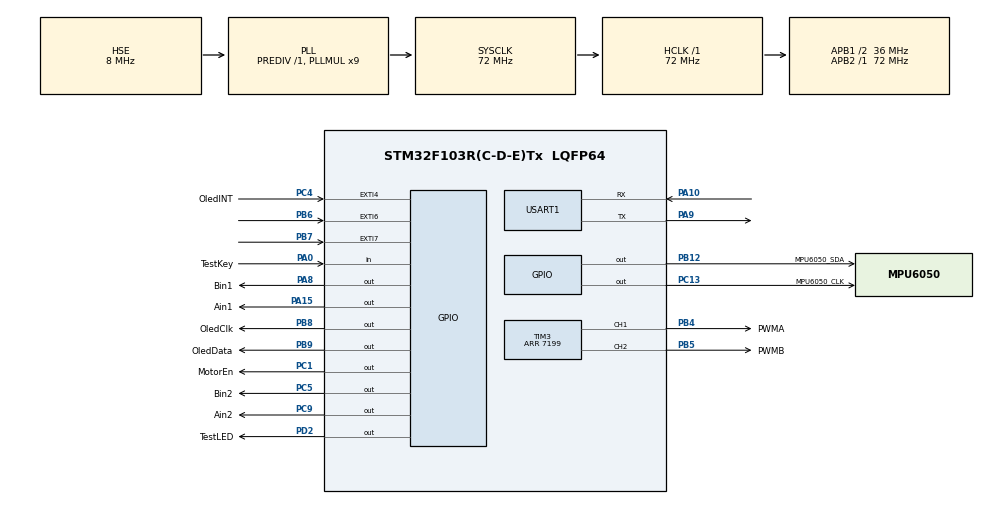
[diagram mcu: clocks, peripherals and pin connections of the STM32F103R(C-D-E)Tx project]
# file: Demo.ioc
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Mcu.Family=STM32F1
Mcu.Name=STM32F103R(C-D-E)Tx
Mcu.Package=LQFP64
NVIC.EXTI4_IRQn=true\:0\:0\:false\:false\:true\:true\:true\:true
NVIC.EXTI9_5_IRQn=true\:0\:0\:false\:false\:true\:true\:true\:true
NVIC.PriorityGroup=NVIC_PRIORITYGROUP_4
NVIC.TIM7_IRQn=true\:0\:0\:false\:false\:true\:true\:true\:true
NVIC.USART1_IRQn=true\:0\:0\:false\:false\:true\:true\:true\:true
PA0-WKUP.GPIO_Label=TestKey
PA0-WKUP.Signal=GPIO_Input
PA10.Mode=Asynchronous
PA10.Signal=USART1_RX
PA13.Mode=Serial_Wire
PA13.Signal=SYS_JTMS-SWDIO
PA14.Mode=Serial_Wire
PA14.Signal=SYS_JTCK-SWCLK
PA15.GPIO_Label=Ain1
PA15.Signal=GPIO_Output
PA8.GPIO_Label=Bin1
PA8.Signal=GPIO_Output
PA9.Mode=Asynchronous
PA9.Signal=USART1_TX
PB12.GPIO_Label=MPU6050_SDA
PB12.Signal=GPIO_Output
PB4.GPIO_Label=PWMA
PB4.Signal=S_TIM3_CH1
PB5.GPIO_Label=PWMB
PB5.Signal=S_TIM3_CH2
PB6.Signal=GPXTI6
PB7.Signal=GPXTI7
PB8.GPIO_Label=OledClk
PB8.Signal=GPIO_Output
PB9.GPIO_Label=OledData
PB9.Signal=GPIO_Output
PC1.GPIO_Label=MotorEn
PC1.Signal=GPIO_Output
PC13-TAMPER-RTC.GPIO_Label=MPU6050_CLK
PC13-TAMPER-RTC.Signal=GPIO_Output
PC4.GPIO_Label=OledINT
PC4.Signal=GPXTI4
PC5.GPIO_Label=Bin2
PC5.Signal=GPIO_Output
PC9.GPIO_Label=Ain2
PC9.Signal=GPIO_Output
PD0-OSC_IN.Mode=HSE-External-Oscillator
PD0-OSC_IN.Signal=RCC_OSC_IN
PD1-OSC_OUT.Mode=HSE-External-Oscillator
PD1-OSC_OUT.Signal=RCC_OSC_OUT
PD2.GPIO_Label=TestLED
PD2.Signal=GPIO_Output
ProjectManager.HeapSize=0x200
ProjectManager.StackSize=0x400
ProjectManager.TargetToolchain=MDK-ARM V5.32
RCC.AHBFreq_Value=72000000
RCC.APB1CLKDivider=RCC_HCLK_DIV2
RCC.APB1Freq_Value=36000000
RCC.APB1TimFreq_Value=72000000
RCC.APB2Freq_Value=72000000
RCC.APB2TimFreq_Value=72000000
RCC.HCLKFreq_Value=72000000
RCC.PLLMUL=RCC_PLL_MUL9
RCC.PLLSourceVirtual=RCC_PLLSOURCE_HSE
RCC.SYSCLKFreq_VALUE=72000000
RCC.SYSCLKSource=RCC_SYSCLKSOURCE_PLLCLK
RCC.USBFreq_Value=72000000
SH.S_TIM3_CH1.0=TIM3_CH1,PWM Generation1 CH1
SH.S_TIM3_CH2.0=TIM3_CH2,PWM Generation2 CH2
TIM3.Channel-PWM\ Generation1\ CH1=TIM_CHANNEL_1
TIM3.Channel-PWM\ Generation2\ CH2=TIM_CHANNEL_2
TIM3.Period=7199
TIM7.Period=999
TIM7.Prescaler=71
USART1.VirtualMode=VM_ASYNC
VP_TIM7_VS_ClockSourceINT.Mode=Enable_Timer
board=custom

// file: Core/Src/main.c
/* USER CODE BEGIN Header */
/**
  ******************************************************************************
  * @file           : main.c
  * @brief          : Main program body
  ******************************************************************************
  * @attention
  *
  * Copyright (c) 2023 STMicroelectronics.
  * All rights reserved.
  *
  * This software is licensed under terms that can be found in the LICENSE file
  * in the root directory of this software component.
  * If no LICENSE file comes with this software, it is provided AS-IS.
  *
  ******************************************************************************
  */
/* USER CODE END Header */
#include "main.h"
#include "tim.h"
#include "usart.h"
#include "gpio.h"

/* USER CODE BEGIN Includes */
#include "stdio.h"
#include "isr.h"
#include "motor.h"
#include "pid.h"
#include "mpu6050.h"
#include "inv_mpu.h"
/* USER CODE END Includes */

void SystemClock_Config(void);

int main(void)
{

  /* MCU Configuration--------------------------------------------------------*/

  /* Reset of all peripherals, Initializes the Flash interface and the Systick. */
  HAL_Init();

  /* Configure the system clock */
  SystemClock_Config();

  /* Initialize all configured peripherals */
  MX_GPIO_Init();
  MX_TIM3_Init();
  MX_TIM7_Init();
  MX_USART1_UART_Init();
  /* USER CODE BEGIN 2 */
	MPU_Init();		 //MPU6050初始化
	mpu_dmp_init();//dmp初始化
	printf("*****TEST_START******\r\n");

	MotorInit();//放了使能TB6612	和初始化转动方向
	PID_Init(); //各类姿态控制器的PID系数初始化
  HAL_TIM_PWM_Start(&htim3  ,TIM_CHANNEL_1); //启动定时器3的1通道，输入周期为100ms，占空比为50%的PWMA信号
  HAL_TIM_PWM_Start(&htim3  ,TIM_CHANNEL_2); //启动定时器3的2通道，输入周期为100ms，占空比为50%的PWMB信号
//	__HAL_TIM_SetCompare(&htim3 ,TIM_CHANNEL_1 ,7200 );	//电机初始化占空比
//	__HAL_TIM_SetCompare(&htim3 ,TIM_CHANNEL_2 ,7200 );	//电机初始化占空比
  __HAL_TIM_CLEAR_IT(&htim7,TIM_IT_UPDATE); //清除定时器初始化过程中的更新中断标志，避免定时器一启动就进入中断
	HAL_TIM_Base_Start_IT(&htim7);//使能定时器7更新中断并启动定时器
  /* USER CODE END 2 */

  /* Infinite loop */
  while (1)
  {

  }
}

void SystemClock_Config(void)
{
  RCC_OscInitTypeDef RCC_OscInitStruct = {0};
  RCC_ClkInitTypeDef RCC_ClkInitStruct = {0};

  /** Initializes the RCC Oscillators according to the specified parameters
  * in the RCC_OscInitTypeDef structure.
  */
  RCC_OscInitStruct.OscillatorType = RCC_OSCILLATORTYPE_HSE;
  RCC_OscInitStruct.HSEState = RCC_HSE_ON;
  RCC_OscInitStruct.HSEPredivValue = RCC_HSE_PREDIV_DIV1;
  RCC_OscInitStruct.HSIState = RCC_HSI_ON;
  RCC_OscInitStruct.PLL.PLLState = RCC_PLL_ON;
  RCC_OscInitStruct.PLL.PLLSource = RCC_PLLSOURCE_HSE;
  RCC_OscInitStruct.PLL.PLLMUL = RCC_PLL_MUL9;
  if (HAL_RCC_OscConfig(&RCC_OscInitStruct) != HAL_OK)
  {
    Error_Handler();
  }

  /** Initializes the CPU, AHB and APB buses clocks
  */
  RCC_ClkInitStruct.ClockType = RCC_CLOCKTYPE_HCLK|RCC_CLOCKTYPE_SYSCLK
                              |RCC_CLOCKTYPE_PCLK1|RCC_CLOCKTYPE_PCLK2;
  RCC_ClkInitStruct.SYSCLKSource = RCC_SYSCLKSOURCE_PLLCLK;
  RCC_ClkInitStruct.AHBCLKDivider = RCC_SYSCLK_DIV1;
  RCC_ClkInitStruct.APB1CLKDivider = RCC_HCLK_DIV2;
  RCC_ClkInitStruct.APB2CLKDivider = RCC_HCLK_DIV1;

  if (HAL_RCC_ClockConfig(&RCC_ClkInitStruct, FLASH_LATENCY_2) != HAL_OK)
  {
    Error_Handler();
  }
}

/* USER CODE BEGIN 4 */
#if 1
#pragma import(__use_no_semihosting)
//标准库需要的支持函数
struct __FILE
{
	int handle;
};

FILE __stdout;
//定义_sys_exit()以避免使用半主机模式
void _sys_exit(int x)
{
	x = x;
}
//重定义fputc函数
int fputc(int ch, FILE *f)
{
	while((USART1->SR&0X40)==0){};//循环发送,直到发送完毕
    USART1->DR = (unsigned char) ch;
	return ch;
}
#endif

/* USER CODE END 4 */

void Error_Handler(void)
{
  __disable_irq();
  while (1)
  {
  }
}
